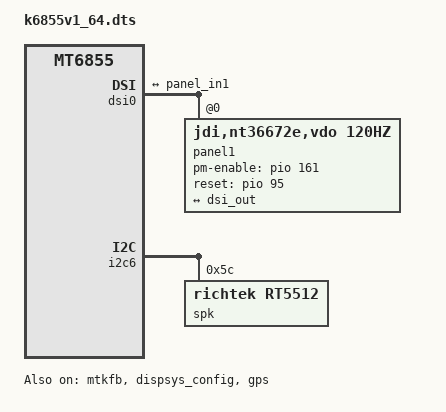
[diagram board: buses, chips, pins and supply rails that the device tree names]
// SPDX-License-Identifier: (GPL-2.0 OR MIT)
/*
 * Copyright (C) 2021 MediaTek Inc.
 */
/dts-v1/;
/plugin/;
#include <dt-bindings/interrupt-controller/arm-gic.h>
#include <dt-bindings/interrupt-controller/irq.h>
#include <dt-bindings/pinctrl/mt6855-pinfunc.h>

&chosen {
	atag,videolfb-fb_base_l = <0x48700000>;
	atag,videolfb-fb_base_h = <0x0>;
	atag,videolfb-islcmfound = <1>;
	atag,videolfb-islcm_inited = <0>;
	atag,videolfb-fps= <6000>;
	atag,videolfb-vramSize= <0x1be0000>;
	atag,videolfb-lcmname=
		"nt35595_fhd_dsi_cmd_truly_nt50358_drv";
};

&mtk_leds {
	compatible = "mediatek,i2c-leds";

	backlight {
		led_mode = <6>;
		gate_enable = <1>;
		pwm_config = <0 1 0 0 0>;
	};
};


&pio {
	mtkfb_pins_lcm_led_en1: lcm_led_en1_gpio {
		pins_cmd_dat {
			pinmux = <PINMUX_GPIO161__FUNC_GPIO161>;
			slew-rate = <1>;
			output-high;
		};
	};

	mtkfb_pins_lcm_led_en0: lcm_led_en0_gpio {
		pins_cmd_dat {
			pinmux = <PINMUX_GPIO161__FUNC_GPIO161>;
			slew-rate = <1>;
			output-low;
		};
	};

	mtkfb_pins_lcm_rst_out1_gpio: lcm_rst_out1_gpio {
		pins_cmd_dat {
			pinmux = <PINMUX_GPIO95__FUNC_GPIO95>;
			slew-rate = <1>;
			output-high;
		};
	};

	mtkfb_pins_lcm_rst_out0_gpio: lcm_rst_out0_gpio {
		pins_cmd_dat {
			pinmux = <PINMUX_GPIO95__FUNC_GPIO95>;
			slew-rate = <1>;
			output-low;
		};
	};

	mtkfb_pins_lcm_dsi_te: lcm_dsi_te {
		pins_cmd_dat {
			pinmux = <PINMUX_GPIO94__FUNC_DSI_TE>;
		};
	};
};

&mtkfb {
	pinctrl-names = "lcm_led_en1_gpio", "lcm_led_en0_gpio",
		"lcm_rst_out1_gpio", "lcm_rst_out0_gpio",
		"mode_te_te";
	pinctrl-0 = <&mtkfb_pins_lcm_led_en1>;
	pinctrl-1 = <&mtkfb_pins_lcm_led_en0>;
	pinctrl-2 = <&mtkfb_pins_lcm_rst_out1_gpio>;
	pinctrl-3 = <&mtkfb_pins_lcm_rst_out0_gpio>;
	pinctrl-4 = <&mtkfb_pins_lcm_dsi_te>;
	status = "okay";
};

&dispsys_config {
	pinctrl-names =
		"lcm_rst_out1_gpio", "lcm_rst_out0_gpio",
		"mode_te_te";
	pinctrl-0 = <&mtkfb_pins_lcm_rst_out1_gpio>;
	pinctrl-1 = <&mtkfb_pins_lcm_rst_out0_gpio>;
	pinctrl-2 = <&mtkfb_pins_lcm_dsi_te>;
	status = "okay";
};

&dsi0 {
	status = "okay";
	#address-cells = <1>;
	#size-cells = <0>;
	panel1@0 {
		compatible = "jdi,nt36672e,vdo,120hz";
		reg = <0>;
		pm-enable-gpios = <&pio 161 0>;
		reset-gpios = <&pio 95 0>;
		gate-ic = <4831>;
		pinctrl-names = "default";
		port {
			panel_in1: endpoint {
				remote-endpoint = <&dsi_out>;
			};
		};
	};
	ports {
		port {
			dsi_out: endpoint {
				remote-endpoint = <&panel_in1>;
			};
		};
	};
};

/* GPS GPIO standardization start */
&pio {
	gps_pins_default: gps_default {
	};
	gps_l1_lna_pins_ol: gps_l1_lna@0 {
		pins_cmd_dat {
			pinmux = <PINMUX_GPIO133__FUNC_GPIO133>;
			output-low;
		};
	};
	gps_l1_lna_pins_dsp_ctrl: gps_l1_lna@1 {
		pins_cmd_dat {
			pinmux = <PINMUX_GPIO133__FUNC_GPS_L1_ELNA_EN>;
		};
	};
	gps_l1_lna_pins_oh: gps_l1_lna@2 {
		pins_cmd_dat {
			pinmux = <PINMUX_GPIO133__FUNC_GPIO133>;
			output-high;
		};
	};
	gps_l5_lna_pins_ol: gps_l5_lna@0 {
		pins_cmd_dat {
			pinmux = <PINMUX_GPIO134__FUNC_GPIO134>;
			output-low;
		};
	};
	gps_l5_lna_pins_dsp_ctrl: gps_l5_lna@1 {
		pins_cmd_dat {
			pinmux = <PINMUX_GPIO134__FUNC_GPS_L5_ELNA_EN>;
		};
	};
	gps_l5_lna_pins_oh: gps_l5_lna@2 {
		pins_cmd_dat {
			pinmux = <PINMUX_GPIO134__FUNC_GPIO134>;
			output-high;
		};
	};
};
&gps {
	pinctrl-names = "default",
		"gps_l1_lna_disable",
		"gps_l1_lna_dsp_ctrl",
		"gps_l1_lna_enable",
		"gps_l5_lna_disable",
		"gps_l5_lna_dsp_ctrl",
		"gps_l5_lna_enable";
	pinctrl-0 = <&gps_pins_default>;
	pinctrl-1 = <&gps_l1_lna_pins_ol>;
	pinctrl-2 = <&gps_l1_lna_pins_dsp_ctrl>;
	pinctrl-3 = <&gps_l1_lna_pins_oh>;
	pinctrl-4 = <&gps_l5_lna_pins_ol>;
	pinctrl-5 = <&gps_l5_lna_pins_dsp_ctrl>;
	pinctrl-6 = <&gps_l5_lna_pins_oh>;
	status = "okay";
};
/* GPS GPIO standardization end */

#include "mediatek/cust_mt6855_touch_1080x2400.dtsi"
#include "mediatek/cust_mt6855_camera_v4l2.dtsi"

&i2c6 {
	spk: speaker_amp@5c {
		compatible = "richtek,rt5512";
		#sound-dai-cells = <0>;
		reg = <0x5c>;
		status = "okay";
		sound-name-prefix = "Left";
	};
};

&sound {
	mediatek,spk-i2s = <3 0>;
	mediatek,speaker-codec {
		sound-dai = <&spk>;
	};
};

&pdc {
	pd_vbus_upper_bound = <12000000>;
};

#include <k6855v1_64/cust.dtsi>
/*End of this file, DO NOT ADD ANYTHING HERE*/
